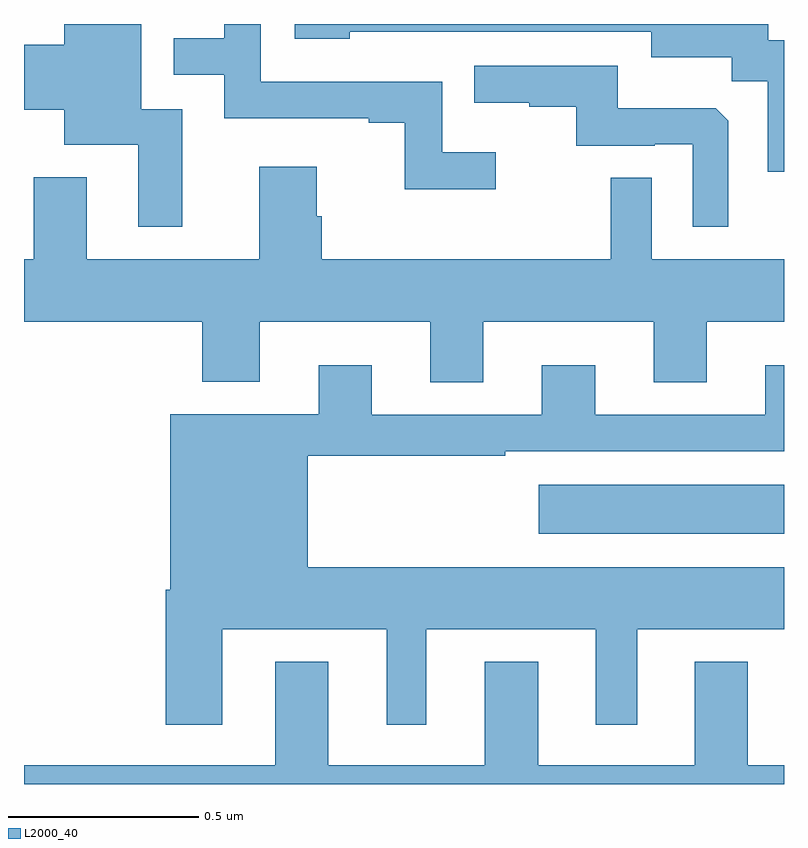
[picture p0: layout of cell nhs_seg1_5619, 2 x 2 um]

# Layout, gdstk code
import gdstk
lib = gdstk.Library(unit=1e-6, precision=1e-09)
def R(c, l, rs):  # rectangles x0, y0, x1, y1
    for r in rs: c.add(gdstk.rectangle(r[:2], r[2:], *l))
def P(c, l, *ps):  # polygons
    for p in ps: c.add(gdstk.Polygon(p, *l))
L2000_40 = (2000, 40)

nhs_seg1_5619 = lib.new_cell('nhs_seg1_5619')
R(nhs_seg1_5619, L2000_40, [(182.355,533.858,183,533.986)])
P(nhs_seg1_5619, L2000_40, [(182.242,534.862),(182.1,534.862),(182.1,535.047),(181.623,535.047),(181.623,535.199),(181.527,535.199),(181.527,535.161),(181.394,535.161),(181.394,535.065),(181.527,535.065),(181.527,534.951),(181.907,534.951),(181.907,534.939),(182.002,534.939),(182.002,534.764),(182.242,534.764)],
  [(181.417,534.975),(181.308,534.975),(181.308,535.199),(181.106,535.199),(181.106,535.145),(181,535.145),(181,534.973),(181.106,534.973),(181.106,534.881),(181.301,534.881),(181.301,534.666),(181.417,534.666)],
  [(183,535.156),(182.958,535.156),(182.958,535.199),(181.713,535.199),(181.713,535.16),(181.857,535.16),(181.857,535.178),(182.093,535.178),(182.093,535.179),(182.651,535.179),(182.651,535.112),(182.862,535.112),(182.862,535.048),(182.957,535.048),(182.957,534.81),(183,534.81)],
  [(182.853,534.945),(182.821,534.977),(182.563,534.977),(182.563,535.089),(182.185,535.089),(182.185,534.992),(182.329,534.992),(182.329,534.981),(182.453,534.981),(182.453,534.879),(182.66,534.879),(182.66,534.882),(182.76,534.882),(182.76,534.665),(182.853,534.665)],
  [(181.165,534.796),(181.025,534.796),(181.025,534.58),(181,534.58),(181,534.416),(181.469,534.416),(181.469,534.257),(181.621,534.257),(181.621,534.416),(182.069,534.416),(182.069,534.256),(182.209,534.256),(182.209,534.416),(182.657,534.416),(182.657,534.256),(182.797,534.256),(182.797,534.416),(183,534.416),(183,534.58),(182.652,534.58),(182.652,534.794),(182.544,534.794),(182.544,534.58),(181.784,534.58),(181.784,534.693),(181.771,534.693),(181.771,534.823),(181.619,534.823),(181.619,534.58),(181.165,534.58)],
  [(181.522,533.606),(181.955,533.606),(181.955,533.355),(182.059,533.355),(182.059,533.606),(182.504,533.606),(182.504,533.355),(182.614,533.355),(182.614,533.606),(183,533.606),(183,533.77),(181.747,533.77),(181.747,534.063),(182.267,534.063),(182.267,534.075),(183,534.075),(183,534.301),(182.951,534.301),(182.951,534.171),(182.503,534.171),(182.503,534.301),(182.363,534.301),(182.363,534.171),(181.915,534.171),(181.915,534.301),(181.775,534.301),(181.775,534.172),(181.385,534.172),(181.385,533.71),(181.373,533.71),(181.373,533.355),(181.522,533.355)],
  [(181.801,533.521),(181.661,533.521),(181.661,533.248),(181,533.248),(181,533.199),(183,533.199),(183,533.248),(182.905,533.248),(182.905,533.521),(182.765,533.521),(182.765,533.248),(182.353,533.248),(182.353,533.521),(182.213,533.521),(182.213,533.248),(181.801,533.248)])

lib.write_gds('nhs_seg1_5619.gds')
